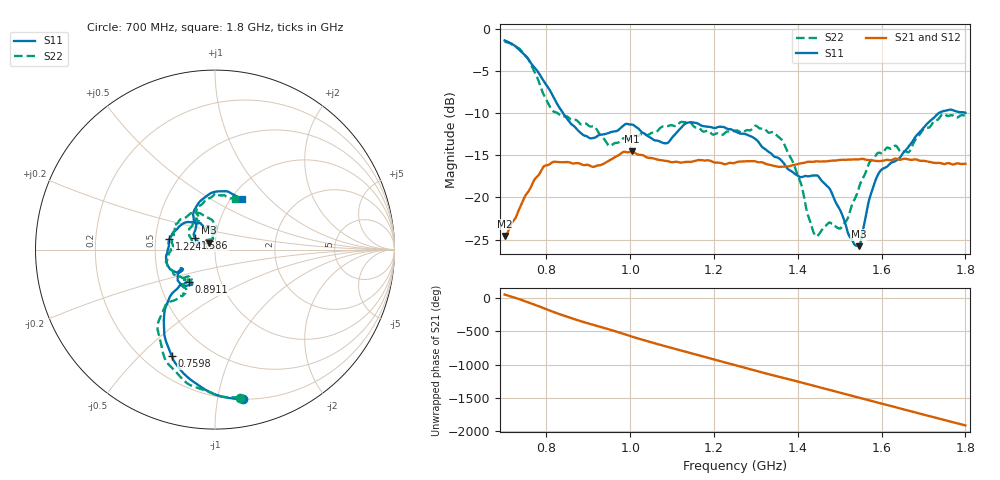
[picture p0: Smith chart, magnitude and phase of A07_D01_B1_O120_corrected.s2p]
! Created with skrf 1.9.0 (http://scikit-rf.org).
# Hz S RI R 50.0
!freq ReS11 ImS11 ReS21 ImS21 ReS12 ImS12 ReS22 ImS22
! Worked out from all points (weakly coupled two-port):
!   1601 points, 700 MHz to 1.8 GHz, reference 50 ohm
!   highest |S21| = -14.55 dB at 1.005 GHz (marker M1); lowest = -24.5 dB at 700.7 MHz (marker M2)
!   lowest |S11| = -25.8 dB at 1.545 GHz (marker M3), VSWR 1.11, Z = 46.6 + j3.63 ohm
!   |S11| at or under -10 dB: 839.3 MHz to 1.737 GHz (897.4 MHz wide, 69.7 % of centre)
!   |S22| runs from -24.6 to -1.6 dB; largest |S21 - S12| = 0.0038
!   S11 on the Smith chart (normalised r, x): 700 MHz: 0.20, -1.19; 759.8 MHz: 0.31, -0.63; 891.1 MHz: 0.70, -0.27; 1.224 GHz: 0.59, +0.08; 1.586 GHz: 0.79, +0.10; 1.8 GHz: 1.12, +0.70
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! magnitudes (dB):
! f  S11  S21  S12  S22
! 700 MHz  -1.4  -24.5  -24.3  -1.6
! 700.7 MHz  -1.4  -24.5  -24.2  -1.6
! 759.8 MHz  -3.9  -19.0  -18.9  -3.9
! 812.8 MHz  -7.7  -15.9  -15.9  -9.6
! 883.6 MHz  -12.4  -16.1  -16.0  -11.4
! 891.1 MHz  -12.7  -16.2  -16.2  -11.2
! 950.9 MHz  -12.3  -15.6  -15.6  -13.9
! 1.005 GHz  -11.4  -14.6  -14.7  -12.8
! 1.067 GHz  -13.3  -15.5  -15.5  -12.0
! 1.139 GHz  -11.1  -15.8  -15.7  -11.0
! 1.224 GHz  -11.7  -16.1  -16.0  -12.5
! 1.25 GHz  -12.2  -15.9  -15.8  -12.1
! 1.361 GHz  -15.6  -16.4  -16.4  -13.1
! 1.405 GHz  -17.6  -16.0  -16.0  -18.0
! 1.434 GHz  -17.4  -15.8  -15.8  -23.5
! 1.503 GHz  -21.7  -15.5  -15.6  -23.6
! 1.545 GHz  -25.8  -15.5  -15.5  -19.0
! 1.586 GHz  -17.9  -15.7  -15.7  -15.0
! 1.617 GHz  -16.1  -15.6  -15.5  -14.2
! 1.665 GHz  -14.0  -15.5  -15.5  -14.6
! 1.737 GHz  -10.0  -15.9  -16.0  -10.7
! 1.8 GHz  -10.0  -16.0  -16.0  -10.3
